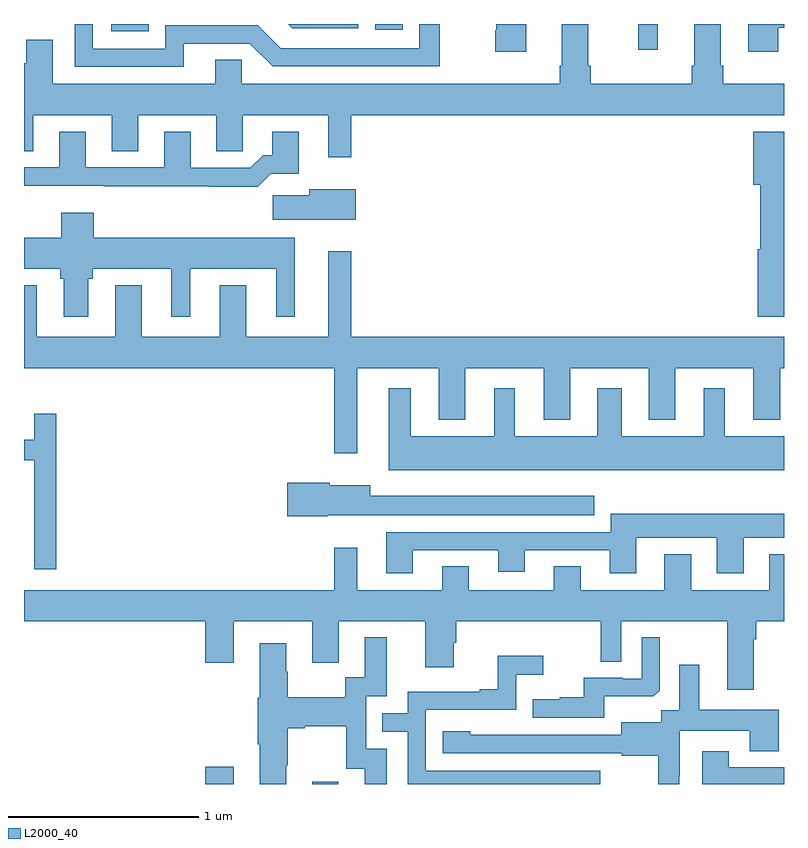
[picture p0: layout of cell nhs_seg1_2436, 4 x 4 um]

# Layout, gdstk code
import gdstk
lib = gdstk.Library(unit=1e-6, precision=1e-09)
def R(c, l, rs):  # rectangles x0, y0, x1, y1
    for r in rs: c.add(gdstk.rectangle(r[:2], r[2:], *l))
def P(c, l, *ps):  # polygons
    for p in ps: c.add(gdstk.Polygon(p, *l))
L2000_40 = (2000, 40)

nhs_seg1_2436 = lib.new_cell('nhs_seg1_2436')
R(nhs_seg1_2436, L2000_40, [(243.953,560.199,244.105,560.29), (244.517,560.199,244.654,560.212), (246.232,564.063,246.335,564.199), (243.459,564.161,243.657,564.199), (244.848,564.168,244.994,564.199)])
P(nhs_seg1_2436, L2000_40, [(243.012,564.116),(243.012,563.993),(243,563.993),(243,563.53),(243.049,563.53),(243.049,563.72),(243.461,563.72),(243.461,563.53),(243.601,563.53),(243.601,563.72),(244.013,563.72),(244.013,563.53),(244.152,563.53),(244.152,563.72),(244.601,563.72),(244.601,563.499),(244.723,563.499),(244.723,563.72),(247,563.72),(247,563.884),(246.68,563.884),(246.68,563.98),(246.667,563.98),(246.667,564.199),(246.527,564.199),(246.527,563.98),(246.515,563.98),(246.515,563.884),(245.984,563.884),(245.984,563.98),(245.971,563.98),(245.971,564.199),(245.831,564.199),(245.831,563.98),(245.819,563.98),(245.819,563.884),(244.146,563.884),(244.146,564.011),(244.007,564.011),(244.007,563.884),(243.151,563.884),(243.151,564.116)],
  [(245.644,564.199),(245.486,564.199),(245.486,564.166),(245.479,564.166),(245.479,564.054),(245.644,564.054)],
  [(244.758,564.199),(244.39,564.199),(244.412,564.177),(244.758,564.177)],
  [(246.971,564.178),(247,564.178),(247,564.199),(246.812,564.199),(246.812,564.054),(246.971,564.054)],
  [(243.841,564.096),(244.188,564.096),(244.308,563.976),(245.188,563.976),(245.188,564.199),(245.079,564.199),(245.079,564.072),(244.35,564.072),(244.23,564.192),(243.744,564.192),(243.744,564.069),(243.363,564.069),(243.363,564.199),(243.267,564.199),(243.267,563.973),(243.841,563.973)],
  [(247,563.632),(246.839,563.632),(246.839,563.352),(246.875,563.352),(246.875,563.014),(246.863,563.014),(246.863,562.659),(247,562.659)],
  [(244.298,563.411),(244.447,563.411),(244.447,563.632),(244.307,563.632),(244.307,563.509),(244.258,563.509),(244.191,563.442),(243.877,563.442),(243.877,563.632),(243.737,563.632),(243.737,563.445),(243.325,563.445),(243.325,563.632),(243.185,563.632),(243.185,563.445),(243,563.445),(243,563.348),(243.421,563.348),(243.421,563.344),(243.973,563.344),(243.973,563.342),(244.229,563.342)],
  [(244.747,563.329),(244.502,563.329),(244.502,563.297),(244.308,563.297),(244.308,563.168),(244.747,563.168)],
  [(243.337,562.857),(243.363,562.857),(243.363,562.91),(243.776,562.91),(243.776,562.659),(243.874,562.659),(243.874,562.91),(244.328,562.91),(244.328,562.659),(244.426,562.659),(244.426,563.074),(243.368,563.074),(243.368,563.206),(243.197,563.206),(243.197,563.074),(243,563.074),(243,562.91),(243.19,562.91),(243.19,562.857),(243.209,562.857),(243.209,562.659),(243.337,562.659)],
  [(244.753,562.388),(245.183,562.388),(245.183,562.115),(245.323,562.115),(245.323,562.388),(245.735,562.388),(245.735,562.115),(245.875,562.115),(245.875,562.388),(246.287,562.388),(246.287,562.115),(246.427,562.115),(246.427,562.388),(246.839,562.388),(246.839,562.115),(246.979,562.115),(246.979,562.388),(247,562.388),(247,562.552),(244.723,562.552),(244.723,563.002),(244.601,563.002),(244.601,562.552),(244.171,562.552),(244.171,562.825),(244.031,562.825),(244.031,562.552),(243.619,562.552),(243.619,562.825),(243.479,562.825),(243.479,562.552),(243.067,562.552),(243.067,562.825),(243,562.825),(243,562.388),(244.632,562.388),(244.632,561.939),(244.753,561.939)],
  [(247,562.03),(246.688,562.03),(246.688,562.282),(246.578,562.282),(246.578,562.03),(246.145,562.03),(246.145,562.282),(246.017,562.282),(246.017,562.03),(245.584,562.03),(245.584,562.282),(245.474,562.282),(245.474,562.03),(245.035,562.03),(245.035,562.282),(244.919,562.282),(244.919,561.851),(247,561.851)],
  [(243.17,562.147),(243.053,562.147),(243.053,562.012),(243,562.012),(243,561.903),(243.054,561.903),(243.054,561.33),(243.17,561.33)],
  [(244.598,561.614),(246.001,561.614),(246.001,561.715),(244.822,561.715),(244.822,561.772),(244.608,561.772),(244.608,561.785),(244.386,561.785),(244.386,561.607),(244.598,561.607)],
  [(245.047,561.429),(245.495,561.429),(245.495,561.317),(245.635,561.317),(245.635,561.429),(246.083,561.429),(246.083,561.309),(246.223,561.309),(246.223,561.494),(246.647,561.494),(246.647,561.309),(246.787,561.309),(246.787,561.494),(247,561.494),(247,561.622),(246.089,561.622),(246.089,561.525),(244.907,561.525),(244.907,561.309),(245.047,561.309)],
  [(246.841,560.96),(246.854,560.96),(246.854,561.056),(247,561.056),(247,561.409),(246.923,561.409),(246.923,561.22),(246.511,561.22),(246.511,561.409),(246.371,561.409),(246.371,561.22),(245.929,561.22),(245.929,561.344),(245.789,561.344),(245.789,561.22),(245.341,561.22),(245.341,561.344),(245.201,561.344),(245.201,561.22),(244.753,561.22),(244.753,561.442),(244.632,561.442),(244.632,561.22),(243,561.22),(243,561.056),(243.953,561.056),(243.953,560.838),(244.105,560.838),(244.105,561.056),(244.517,561.056),(244.517,560.838),(244.657,560.838),(244.657,561.056),(245.111,561.056),(245.111,560.814),(245.263,560.814),(245.263,560.943),(245.276,560.943),(245.276,561.056),(246.036,561.056),(246.036,560.842),(246.144,560.842),(246.144,561.056),(246.701,561.056),(246.701,560.694),(246.841,560.694)],
  [(244.381,560.299),(244.389,560.299),(244.389,560.492),(244.477,560.492),(244.477,560.504),(244.697,560.504),(244.697,560.28),(244.793,560.28),(244.793,560.199),(244.909,560.199),(244.909,560.385),(244.8,560.385),(244.8,560.661),(244.909,560.661),(244.909,560.971),(244.793,560.971),(244.793,560.762),(244.692,560.762),(244.692,560.656),(244.389,560.656),(244.389,560.79),(244.381,560.79),(244.381,560.941),(244.241,560.941),(244.241,560.652),(244.229,560.652),(244.229,560.408),(244.241,560.408),(244.241,560.199),(244.381,560.199)],
  [(246.055,560.66),(246.313,560.66),(246.345,560.691),(246.345,560.971),(246.252,560.971),(246.252,560.754),(246.152,560.754),(246.152,560.757),(245.945,560.757),(245.945,560.656),(245.821,560.656),(245.821,560.644),(245.677,560.644),(245.677,560.547),(246.055,560.547)],
  [(246.034,560.268),(245.115,560.268),(245.115,560.589),(245.592,560.589),(245.592,560.774),(245.734,560.774),(245.734,560.873),(245.494,560.873),(245.494,560.698),(245.399,560.698),(245.399,560.685),(245.019,560.685),(245.019,560.571),(244.885,560.571),(244.885,560.475),(245.019,560.475),(245.019,560.199),(246.034,560.199)],
  [(246.448,560.239),(246.45,560.239),(246.45,560.48),(246.821,560.48),(246.821,560.371),(246.973,560.371),(246.973,560.59),(246.553,560.59),(246.553,560.827),(246.449,560.827),(246.449,560.588),(246.354,560.588),(246.354,560.524),(246.143,560.524),(246.143,560.457),(245.585,560.457),(245.585,560.458),(245.349,560.458),(245.349,560.476),(245.205,560.476),(245.205,560.361),(246.147,560.361),(246.147,560.349),(246.339,560.349),(246.339,560.199),(246.448,560.199)],
  [(247,560.286),(246.709,560.286),(246.709,560.371),(246.569,560.371),(246.569,560.199),(247,560.199)])

lib.write_gds('nhs_seg1_2436.gds')
